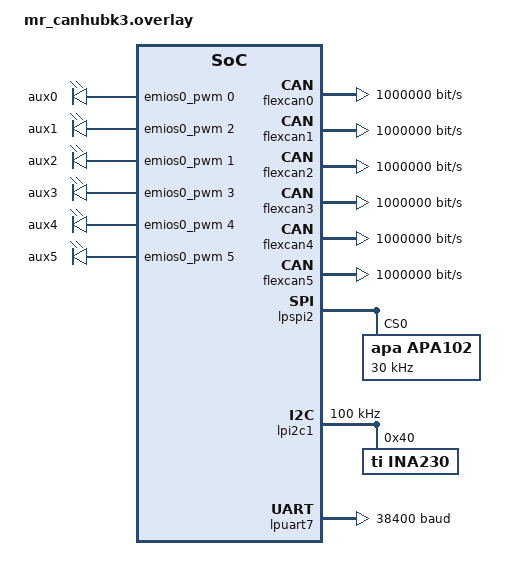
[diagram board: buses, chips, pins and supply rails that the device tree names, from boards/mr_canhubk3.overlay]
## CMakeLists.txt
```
#-------------------------------------------------------------------------------
# Zephyr Cerebri Application
#
# Copyright (c) 2023 CogniPilot Foundation
# SPDX-License-Identifier: Apache-2.0

cmake_minimum_required(VERSION 3.13.1)

set(MODULE_EXT_ROOT ${CMAKE_CURRENT_SOURCE_DIR}/../..)

if (${BOARD} STREQUAL "mr_canhubk3")
  message(STATUS "enabling mr_canhubk3_adap shield")
  set(SHIELD mr_canhubk3_adap)
endif()

find_package(Zephyr REQUIRED HINTS $ENV{ZEPHYR_BASE})

project(b3rb LANGUAGES C)

target_compile_options(app PRIVATE -Wall -Wextra -Werror -Wno-unused-parameter)

set(SOURCE_FILES
  src/main.c
  )

target_sources(app PRIVATE ${SOURCE_FILES})

#add_custom_target(install_files ALL
#	DEPENDS ${ZEPHYR_FINAL_EXECUTABLE}
#)

#add_custom_command(
#    TARGET install_files
#    POST_BUILD
#    COMMAND ${CMAKE_COMMAND} --build ${CMAKE_BINARY_DIR} --target install
#    )
```

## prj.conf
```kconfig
CONFIG_CEREBRI_APP_NAME="b3rb"

CONFIG_SYS_CLOCK_TICKS_PER_SEC=10000
CONFIG_TICKLESS_KERNEL=n

CONFIG_CEREBRI_DREAM_SIL=n

CONFIG_CEREBRI_B3RB_ESTIMATE=y
CONFIG_CEREBRI_B3RB_FSM=y
CONFIG_CEREBRI_B3RB_MANUAL=y
CONFIG_CEREBRI_B3RB_MIXING=y
CONFIG_CEREBRI_B3RB_POSITION=y
CONFIG_CEREBRI_B3RB_VELOCITY=y
CONFIG_CEREBRI_B3RB_LIGHTING=y
CONFIG_CEREBRI_B3RB_CASADI=y
CONFIG_CEREBRI_ACTUATE_LED_ARRAY_COUNT=30

CONFIG_CEREBRI_ACTUATE_PWM=y
CONFIG_CEREBRI_ACTUATE_LED_ARRAY=y
CONFIG_CEREBRI_ACTUATE_SOUND=y

CONFIG_NET_BUF_RX_COUNT=24
CONFIG_NET_PKT_RX_COUNT=24

CONFIG_CEREBRI_SENSE_POWER=y
CONFIG_CEREBRI_SENSE_SAFETY=y
CONFIG_CEREBRI_SENSE_IMU=y
CONFIG_CEREBRI_SENSE_MAG=y
CONFIG_CEREBRI_SENSE_WHEEL_ODOMETRY=y
CONFIG_CEREBRI_SENSE_UBX_GNSS=y

CONFIG_CEREBRI_SYNAPSE_ETH_RX=y
CONFIG_CEREBRI_SYNAPSE_ETH_TX=y
CONFIG_CEREBRI_SYNAPSE_ETHERNET=n

CONFIG_CEREBRI_SYNAPSE_TOPIC=y
CONFIG_CEREBRI_CORE_COMMON=y
CONFIG_CEREBRI_CORE_COMMON_BOOT_BANNER=y
CONFIG_ZROS=y

CONFIG_SHELL_STACK_SIZE=10240
CONFIG_INIT_STACKS=y

CONFIG_LOG=y
CONFIG_LOG_CMDS=y
CONFIG_LOG_MODE_DEFERRED=y

CONFIG_ASSERT=y
CONFIG_TEST=y
CONFIG_CBPRINTF_FP_SUPPORT=y

# modules
CONFIG_SYNAPSE_PROTOBUF=y
CONFIG_SYNAPSE_TINYFRAME=y
CONFIG_NANOPB=y
CONFIG_UBXLIB=y

# Debug
CONFIG_CEREBRI_ACTUATE_PWM_LOG_LEVEL_DBG=n
CONFIG_CEREBRI_SENSE_WHEEL_ODOMETRY_LOG_LEVEL_DBG=n
CONFIG_CEREBRI_SENSE_IMU_LOG_LEVEL_DBG=n
CONFIG_CEREBRI_SENSE_SAFETY_LOG_LEVEL_DBG=n

# General config
CONFIG_POSIX_API=y
CONFIG_NEWLIB_LIBC=y
CONFIG_MAIN_THREAD_PRIORITY=5
CONFIG_SYSTEM_WORKQUEUE_PRIORITY=-2
CONFIG_SYS_CLOCK_TICKS_PER_SEC=10000
# Networking config
CONFIG_NET_SHELL=y
CONFIG_NETWORKING=y
CONFIG_NET_IPV4=y
CONFIG_NET_IPV6=n
CONFIG_NET_TCP=y
CONFIG_NET_SOCKETS=y

# Network address config
CONFIG_NET_CONFIG_SETTINGS=y
CONFIG_NET_STATISTICS=y
CONFIG_NET_MGMT_EVENT_INFO=y
CONFIG_NET_MGMT_EVENT_MONITOR=y
CONFIG_NET_BUF_POOL_USAGE=y
CONFIG_NET_DEBUG_NET_PKT_ALLOC=y
CONFIG_NET_CONFIG_NEED_IPV4=y
CONFIG_NET_CONFIG_MY_IPV4_ADDR="192.0.2.1"
CONFIG_NET_CONFIG_PEER_IPV4_ADDR="192.0.2.2"

# STATS
CONFIG_THREAD_RUNTIME_STATS=y
CONFIG_SCHED_THREAD_USAGE=y
CONFIG_SCHED_THREAD_USAGE_ANALYSIS=y
CONFIG_SCHED_THREAD_USAGE_ALL=y
CONFIG_SCHED_THREAD_USAGE_AUTO_ENABLE=y
```

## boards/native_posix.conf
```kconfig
CONFIG_NO_OPTIMIZATIONS=y

CONFIG_ETH_NATIVE_POSIX=y
CONFIG_TEST_RANDOM_GENERATOR=y
CONFIG_SYS_CLOCK_TICKS_PER_SEC=200
CONFIG_NATIVE_POSIX_SLOWDOWN_TO_REAL_TIME=n

#CONFIG_NATIVE_UART_0_ON_STDINOUT=y
CONFIG_NATIVE_UART_AUTOATTACH_DEFAULT_CMD="xterm -fa Monospcae -fs 12 -fg grey -bg black -T cerebri-shell -e screen %s &"

CONFIG_CEREBRI_BOOT_BANNER=n
CONFIG_CEREBRI_DREAM_SIL=y
CONFIG_UBXLIB=n

CONFIG_CEREBRI_ACTUATE_LED_ARRAY=n
CONFIG_CEREBRI_SENSE_IMU=n
CONFIG_CEREBRI_SENSE_BARO=n
CONFIG_CEREBRI_SENSE_MAG=n
CONFIG_CEREBRI_SENSE_UBX_GNSS=n
CONFIG_CEREBRI_SENSE_SAFETY=n
CONFIG_CEREBRI_SENSE_WHEEL_ODOMETRY=n

CONFIG_CEREBRI_DREAM_SIL_LOG_LEVEL_DBG=n
CONFIG_CEREBRI_CONTROL_ACKERMANN_LOG_LEVEL_DBG=y

CONFIG_NEWLIB_LIBC=n
CONFIG_EXTERNAL_LIBC=y
CONFIG_POSIX_API=n
CONFIG_PRINTK=y
```

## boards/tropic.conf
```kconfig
CONFIG_ENTROPY_GENERATOR=y
CONFIG_TEST_RANDOM_GENERATOR=y

CONFIG_CEREBRI_ACTUATE_PWM_NUMBER=2

# steering
CONFIG_CEREBRI_ACTUATE_PWM_USE_POS_0=y
CONFIG_CEREBRI_ACTUATE_PWM_INDEX_0=0
CONFIG_CEREBRI_ACTUATE_PWM_LINEAR_0=y
CONFIG_CEREBRI_ACTUATE_PWM_LINEAR_M_0=800
CONFIG_CEREBRI_ACTUATE_PWM_LINEAR_M_DIV_0=1
CONFIG_CEREBRI_ACTUATE_PWM_LINEAR_B_0=1500
CONFIG_CEREBRI_ACTUATE_PWM_LINEAR_B_DIV_0=1

# throttle
CONFIG_CEREBRI_ACTUATE_PWM_INDEX_1=0
CONFIG_CEREBRI_ACTUATE_PWM_USE_NANO_SECONDS_1=y
CONFIG_CEREBRI_ACTUATE_PWM_PULSE_MIN_1=0
CONFIG_CEREBRI_ACTUATE_PWM_PULSE_MAX_1=500000
CONFIG_CEREBRI_ACTUATE_PWM_PULSE_CENTER_1=25000
CONFIG_CEREBRI_ACTUATE_PWM_LINEAR_1=y
CONFIG_CEREBRI_ACTUATE_PWM_LINEAR_M_1=717
CONFIG_CEREBRI_ACTUATE_PWM_LINEAR_M_DIV_1=1
CONFIG_CEREBRI_ACTUATE_PWM_LINEAR_B_1=25000
CONFIG_CEREBRI_ACTUATE_PWM_LINEAR_B_DIV_1=1

CONFIG_PWM=y

CONFIG_CAN=y
CONFIG_CAN_MAX_FILTER=5
CONFIG_CAN_SHELL=y

CONFIG_NET_DRIVERS=y
CONFIG_NET_CANBUS=y

CONFIG_NET_SOCKETS_CAN=y
CONFIG_NET_DEFAULT_IF_CANBUS_RAW=y

CONFIG_CAN_LOG_LEVEL_DBG=n
CONFIG_CAN_FD_MODE=y
CONFIG_SHELL_ARGC_MAX=72
CONFIG_I2C=y
CONFIG_SENSOR=y
CONFIG_HEAP_MEM_POOL_SIZE=16384

# Debugging
CONFIG_DEBUG_THREAD_INFO=y

# Logging
#CONFIG_LOG_BACKEND_NET=n
#CONFIG_LOG_BACKEND_NET_SERVER="192.0.2.2"
CONFIG_CEREBRI_SENSE_POWER=n
CONFIG_CEREBRI_ACTUATE_LED_ARRAY=n
CONFIG_CEREBRI_SENSE_UBX_GNSS_MODULE_TYPE_M8=y
```

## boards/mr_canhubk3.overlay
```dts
/* SPDX-License-Identifier: Apache-2.0 */
/* Copyright 2023 CogniPilot Foundation */
#include <zephyr/dt-bindings/sensor/ina230.h>

/ {
	pwm_shell: pwm_shell {
		compatible = "pwm-leds";
		aux0: aux0 {
			pwms = <&emios0_pwm 0 PWM_HZ(50) PWM_POLARITY_NORMAL>;
		};
		aux1: aux1 {
			pwms = <&emios0_pwm 2 PWM_HZ(20000) PWM_POLARITY_NORMAL>;
		};
		aux2: aux2 {
			pwms = <&emios0_pwm 1 PWM_HZ(20000) PWM_POLARITY_NORMAL>;
		};
		aux3: aux3 {
			pwms = <&emios0_pwm 3 PWM_HZ(50) PWM_POLARITY_NORMAL>;
		};
		aux4: aux4 {
			pwms = <&emios0_pwm 4 PWM_HZ(50) PWM_POLARITY_NORMAL>;
		};
		aux5: aux5 {
			pwms = <&emios0_pwm 5 PWM_HZ(50) PWM_POLARITY_NORMAL>;
		};
	};

	chosen {
		zephyr,canbus = &flexcan3;
	};

	aliases {
		can0 = &flexcan0;
		can1 = &flexcan1;
		can2 = &flexcan2;
		can3 = &flexcan3;
		can4 = &flexcan4;
		can5 = &flexcan5;
		/* power sensors */
		power0 = &ina230;
		/* safety button */
		safety-button = &arming_button_mr_canhubk3_adap;
		/* wheel odometry */
		wheel-odometry0 = &qdec0;
	};
};

&emios0_pwm {
	pwm_0 {
	};
	pwm_1 {
		prescaler = <1>;
		duty-cycle = <0>;
	};
	pwm_2 {
		prescaler = <1>;
	};
	pwm_3 {
		prescaler = <16>;
	};
	pwm_4 {
		prescaler = <16>;
	};
	pwm_5 {
		prescaler = <16>;
	};
};



&flexcan0 {
	status = "okay";
	bus-speed = <1000000>;
	bus-speed-data = <4000000>;
};

&flexcan1 {
	status = "okay";
	bus-speed = <1000000>;
	bus-speed-data = <4000000>;
};

&flexcan2 {
	status = "okay";
	bus-speed = <1000000>;
	bus-speed-data = <4000000>;
};

&flexcan3 {
	status = "okay";
	bus-speed = <1000000>;
	bus-speed-data = <4000000>;
};

&flexcan4 {
	status = "okay";
	bus-speed = <1000000>;
	bus-speed-data = <4000000>;
};

&flexcan5 {
	status = "okay";
	bus-speed = <1000000>;
	bus-speed-data = <4000000>;
};

&lpspi2 {
	status = "okay";
	apa102: apa102@0 {
	compatible = "apa,apa102";
		status = "okay";
		reg = <0>;
		spi-max-frequency = <30000>;
	};
};

&lpi2c1 {
	status = "okay";
	pinctrl-0 = <&lpi2c1_default>;
	pinctrl-names = "default";
	clock-frequency = <I2C_BITRATE_STANDARD>;

	ina230: ina230@40 {
		compatible = "ti,ina230";
		reg = <0x40>;
		current-lsb-microamps = <10000>;
		rshunt-micro-ohms = <2000>;
	};
};

/* GNSS 1 */
uart0: &lpuart7 {
		status = "okay";
		current-speed = <38400>;
};
```

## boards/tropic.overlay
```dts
/* SPDX-License-Identifier: Apache-2.0 */
/* Copyright 2024 CogniPilot Foundation */
#include <zephyr/dt-bindings/sensor/ina230.h>

/ {
	pwm_shell: pwm_shell {
		compatible = "pwm-leds";
		aux0: aux0 {
			pwms = <&flexpwm2_pwm1 0 PWM_HZ(50) PWM_POLARITY_NORMAL>;
		};
		aux1: aux1 {
			pwms = <&flexpwm2_pwm0 0 PWM_HZ(20000) PWM_POLARITY_NORMAL>;
		};
		aux2: aux2 {
			pwms = <&flexpwm4_pwm2 1 PWM_HZ(20000) PWM_POLARITY_NORMAL>;
		};
		aux3: aux3 {
			pwms = <&flexpwm4_pwm2 0 PWM_HZ(50) PWM_POLARITY_NORMAL>;
		};
		aux4: aux4 {
			pwms = <&flexpwm2_pwm2 1 PWM_HZ(50) PWM_POLARITY_NORMAL>;
		};
		aux5: aux5 {
			pwms = <&flexpwm2_pwm0 1 PWM_HZ(50) PWM_POLARITY_NORMAL>;
		};
		
		gps_buzzer: gps_buzzer {
			label = "GPS_BUZZER";
			pwms = <&flexpwm3_pwm1 0 PWM_KHZ(1) PWM_POLARITY_NORMAL>;
		};
	};

	chosen {
		zephyr,canbus = &flexcan3;
	};

	aliases {
		can0 = &flexcan3;
		/* safety button */
		safety-button = &arming_button;
		/* accelerometers */
		accel0 = &icm42688;
		accel1 = &bmi08x_accel;
		/* gyroscopes */
		gyro0 = &icm42688;
		gyro1 = &bmi08x_gyro;
		/* magnetometers */
		mag0 = &ist8310;
		mag1 = &bmm150;
		/* barometric altimeters */
		baro0 = &dps310;
		/* wheel odometry */
		wheel-odometry0 = &qdec1;
		buzzer = &gps_buzzer;
	};
};


&flexpwm2_pwm1 {
	nxp,prescaler = <64>;
};

&flexpwm2_pwm0 {
	nxp,prescaler = <64>;
};

&flexpwm4_pwm2 {
	nxp,prescaler = <64>;
};

&flexpwm2_pwm2 {
	nxp,prescaler = <64>;
};


&flexcan3 {
	status = "okay";
	bus-speed = <1000000>;
	bus-speed-data = <4000000>;
};

/* GNSS 1 */
uart0: &lpuart2 {
		status = "okay";
		current-speed = <38400>;
};


&pinctrl {

	pinmux_qdec1: pinmux_qdec1 {
		group0 {
			pinmux = <&iomuxc_gpio_b1_00_xbar1_xbar_in14>,
				<&iomuxc_gpio_b1_01_xbar1_xbar_in15>;
			drive-strength = "r0-5";
			slew-rate = "slow";
			nxp,speed = "100-mhz";
		};
	};
};

&qdec1 {
	status = "okay";
	pinctrl-0 = <&pinmux_qdec1>;
	pinctrl-names = "default";
	counts-per-revolution = <685>;
	filter-count = <0>;
	xbar = < &xbar1 >;
};

&xbar1 {
	status = "okay";
	xbar-maps = < (14|0x100) (109|0x100) >, /* kXBARA1_InputIomuxXbarIn14 <-> kXBARA1_OutputDec1Phasea */
		    < (15|0x100) (108|0x100) >; /* kXBARA1_InputIomuxXbarIn15 <-> kXBARA1_OutputDec1Phaseb */
};
```

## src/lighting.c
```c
/*
 * Copyright CogniPilot Foundation 2023
 * SPDX-License-Identifier: Apache-2.0
 */

#include <math.h>

#include <zephyr/kernel.h>
#include <zephyr/logging/log.h>

#include <zros/private/zros_node_struct.h>
#include <zros/private/zros_pub_struct.h>
#include <zros/private/zros_sub_struct.h>
#include <zros/zros_node.h>
#include <zros/zros_pub.h>
#include <zros/zros_sub.h>

#include <synapse_topic_list.h>

#define MY_STACK_SIZE 2048
#define MY_PRIORITY 4

LOG_MODULE_REGISTER(b3rb_lighting, CONFIG_CEREBRI_B3RB_LOG_LEVEL);

extern struct k_work_q g_high_priority_work_q;
static void lighting_work_handler(struct k_work* work);
static void lighting_timer_handler(struct k_timer* dummy);

typedef struct context_ {
    // work
    struct k_work work_item;
    struct k_timer timer;
    // node
    struct zros_node node;
    // data
    synapse_msgs_BatteryState battery_state;
    synapse_msgs_Safety safety;
    synapse_msgs_Status status;
    synapse_msgs_LEDArray led_array;
    synapse_msgs_Joy joy;
    // subscriptions
    struct zros_sub sub_battery_state, sub_safety, sub_status, sub_joy;
    // publications
    struct zros_pub pub_led_array;
    bool lights_on;
} context_t;

static context_t g_ctx = {
    .work_item = Z_WORK_INITIALIZER(lighting_work_handler),
    .timer = Z_TIMER_INITIALIZER(g_ctx.timer, lighting_timer_handler, NULL),
    .battery_state = synapse_msgs_BatteryState_init_default,
    .safety = synapse_msgs_Safety_init_default,
    .status = synapse_msgs_Status_init_default,
    .led_array = synapse_msgs_LEDArray_init_default,
    .sub_safety = {},
    .sub_status = {},
    .sub_joy = {},
    .pub_led_array = {},
    .node = {},
    .lights_on = false,
};

static void lighting_init(context_t* ctx)
{
    zros_node_init(&ctx->node, "b3rb_lighting");
    zros_sub_init(&ctx->sub_battery_state, &ctx->node, &topic_battery_state, &ctx->battery_state, 10);
    zros_sub_init(&ctx->sub_safety, &ctx->node, &topic_safety, &ctx->safety, 10);
    zros_sub_init(&ctx->sub_status, &ctx->node, &topic_status, &ctx->status, 10);
    zros_sub_init(&ctx->sub_joy, &ctx->node, &topic_joy, &ctx->joy, 10);
    zros_pub_init(&ctx->pub_led_array, &ctx->node, &topic_led_array, &ctx->led_array);
}

static void set_led(const int index, const double* color, const double brightness, synapse_msgs_LED* led)
{
    led->index = index;
    led->r = brightness * color[0];
    led->g = brightness * color[1];
    led->b = brightness * color[2];
}

static void lighting_work_handler(struct k_work* work)
{
    context_t* ctx = CONTAINER_OF(work, context_t, work_item);

    // update subscriptions
    zros_sub_update(&ctx->sub_status);
    zros_sub_update(&ctx->sub_joy);
    zros_sub_update(&ctx->sub_safety);
    zros_sub_update(&ctx->sub_battery_state);

    double t = k_uptime_ticks() / ((double)CONFIG_SYS_CLOCK_TICKS_PER_SEC);
    const double led_pulse_freq = 0.25;
    const double brightness_min = 4;
    const double brightness_max = 30;
    const double brightness_amplitude = (brightness_max - brightness_min) / 2;
    const double brightness_mean = (brightness_max + brightness_min) / 2;

    int brightness = brightness_mean + brightness_amplitude * sin(2 * 3.14159 * led_pulse_freq * t);
    int led_msg_index = 0;

    const int mode_leds[] = { 0, 3, 6, 9, 12, 15, 20, 21 };
    const double color_auto[] = { 1, 0, 0 };
    const double color_manual[] = { 0, 1, 0 };
    const double color_cmd_vel[] = { 0, 0, 1 };
    const double color_unknown[] = { 0.33, 0.33, 0.33 };

    const int arm_leds[] = { 1, 4, 7, 10, 13, 16, 19, 22 };
    const double color_armed[] = { 1, 0, 0 };
    const double color_disarmed[] = { 0, 1, 0 };

    const int safety_leds[] = { 2, 5, 8, 11, 14, 17, 18, 23 };
    const double color_unsafe[] = { 1, 0, 0 };
    const double color_safe[] = { 0, 1, 0 };
    const double color_battery_critical[] = { 1, 0.65, 0 };
    const double color_calibration[] = { 1, 1, 0 };

    const int headlight_leds[] = { 24, 25, 26, 27, 28, 29 };
    const double color_white[] = { 1, 1, 1 };

    bool battery_critical = ctx->battery_state.voltage < CONFIG_CEREBRI_B3RB_BATTERY_MIN_MILLIVOLT / 1000.0;

    // mode leds
    for (size_t i = 0; i < ARRAY_SIZE(mode_leds); i++) {
        const double* color = NULL;
        if (ctx->status.mode == synapse_msgs_Status_Mode_MODE_MANUAL) {
            color = color_manual;
        } else if (ctx->status.mode == synapse_msgs_Status_Mode_MODE_CMD_VEL) {
            color = color_cmd_vel;
        } else if (ctx->status.mode == synapse_msgs_Status_Mode_MODE_AUTO) {
            color = color_auto;
        } else if (ctx->status.mode == synapse_msgs_Status_Mode_MODE_CALIBRATION) {
            color = color_calibration;
        } else {
            color = color_unknown;
        }
        set_led(mode_leds[i], color, brightness, &ctx->led_array.led[led_msg_index]);
        led_msg_index++;
    }

    // arm leds
    for (size_t i = 0; i < ARRAY_SIZE(arm_leds); i++) {
        const double* color = NULL;
        if (battery_critical) {
            color = color_battery_critical;
        } else {
            if (ctx->status.arming == synapse_msgs_Status_Arming_ARMING_DISARMED) {
                color = color_disarmed;
            } else if (ctx->status.arming == synapse_msgs_Status_Arming_ARMING_ARMED) {
                color = color_armed;
            } else {
                color = color_unknown;
            }
        }
        set_led(arm_leds[i], color, brightness, &ctx->led_array.led[led_msg_index]);
        led_msg_index++;
    }

    // safety leds
    for (size_t i = 0; i < ARRAY_SIZE(safety_leds); i++) {
        const double* color = NULL;
        if (ctx->safety.status == synapse_msgs_Safety_Status_SAFETY_SAFE) {
            color = color_safe;
        } else {
            color = color_unsafe;
        }
        set_led(safety_leds[i], color, brightness, &ctx->led_array.led[led_msg_index]);
        led_msg_index++;
    }

    // headlight leds
    bool lights_on_requested = ctx->joy.buttons[JOY_BUTTON_LIGHTS_ON] == 1;
    bool lights_off_requested = ctx->joy.buttons[JOY_BUTTON_LIGHTS_OFF] == 1;

    if (lights_on_requested) {
        ctx->lights_on = true;
    } else if (lights_off_requested) {
        ctx->lights_on = false;
    }

    if (ctx->lights_on) {
        for (size_t i = 0; i < ARRAY_SIZE(headlight_leds); i++) {
            set_led(headlight_leds[i], color_white, 255, &ctx->led_array.led[led_msg_index]);
            led_msg_index++;
        }
    } else if (!ctx->lights_on) {
        for (size_t i = 0; i < ARRAY_SIZE(headlight_leds); i++) {
            set_led(headlight_leds[i], color_white, 0, &ctx->led_array.led[led_msg_index]);
            led_msg_index++;
        }
    }

    // set timestamp
    stamp_header(&ctx->led_array.header, k_uptime_ticks());
    ctx->led_array.header.seq++;
    ctx->led_array.led_count = led_msg_index;

    zros_pub_update(&ctx->pub_led_array);
}

static void lighting_timer_handler(struct k_timer* timer)
{
    context_t* ctx = CONTAINER_OF(timer, context_t, timer);
    k_work_submit_to_queue(&g_high_priority_work_q, &ctx->work_item);
}

static void lighting_entry_point(void* p0, void* p1, void* p2)
{
    LOG_INF("init");
    context_t* ctx = p0;
    ARG_UNUSED(p1);
    ARG_UNUSED(p2);

    lighting_init(ctx);
    k_timer_start(&ctx->timer, K_MSEC(33), K_MSEC(33));
}

K_THREAD_DEFINE(b3rb_lighting, MY_STACK_SIZE,
    lighting_entry_point, &g_ctx, NULL, NULL,
    MY_PRIORITY, 0, 1000);

/* vi: ts=4 sw=4 et */
```
